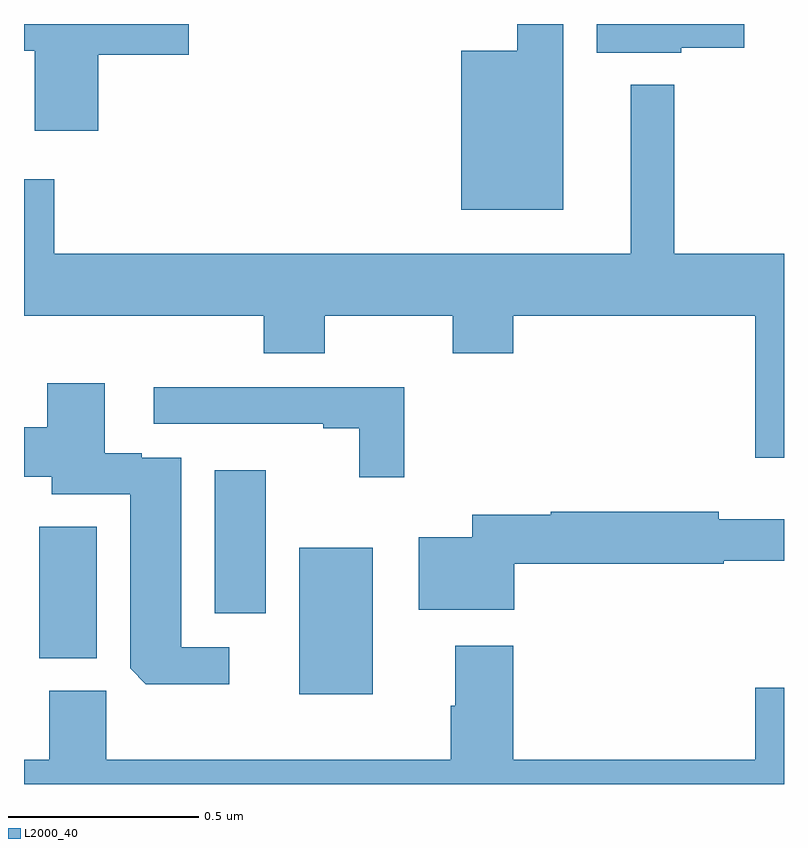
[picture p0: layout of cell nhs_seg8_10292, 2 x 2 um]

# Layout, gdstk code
import gdstk
lib = gdstk.Library(unit=1e-6, precision=1e-09)
def R(c, l, rs):  # rectangles x0, y0, x1, y1
    for r in rs: c.add(gdstk.rectangle(r[:2], r[2:], *l))
def P(c, l, *ps):  # polygons
    for p in ps: c.add(gdstk.Polygon(p, *l))
L2000_40 = (2000, 40)

nhs_seg8_10292 = lib.new_cell('nhs_seg8_10292')
R(nhs_seg8_10292, L2000_40, [(247.724,1150.136,247.918,1150.522), (247.04,1150.231,247.192,1150.577), (247.502,1150.35,247.636,1150.726)])
P(nhs_seg8_10292, L2000_40, [(247.196,1151.819),(247.433,1151.819),(247.433,1151.9),(247,1151.9),(247,1151.83),(247.028,1151.83),(247.028,1151.619),(247.196,1151.619)],
  [(248.419,1151.9),(248.298,1151.9),(248.298,1151.83),(248.15,1151.83),(248.15,1151.411),(248.419,1151.411)],
  [(248.73,1151.837),(248.896,1151.837),(248.896,1151.9),(248.507,1151.9),(248.507,1151.825),(248.73,1151.825)],
  [(249,1151.296),(248.711,1151.296),(248.711,1151.74),(248.597,1151.74),(248.597,1151.296),(247.079,1151.296),(247.079,1151.491),(247,1151.491),(247,1151.132),(247.631,1151.132),(247.631,1151.033),(247.791,1151.033),(247.791,1151.132),(248.128,1151.132),(248.128,1151.033),(248.288,1151.033),(248.288,1151.132),(248.924,1151.132),(248.924,1150.758),(249,1150.758)],
  [(247.54,1150.26),(247.414,1150.26),(247.414,1150.758),(247.31,1150.758),(247.31,1150.771),(247.213,1150.771),(247.213,1150.954),(247.061,1150.954),(247.061,1150.839),(247,1150.839),(247,1150.709),(247.073,1150.709),(247.073,1150.662),(247.28,1150.662),(247.28,1150.204),(247.321,1150.163),(247.54,1150.163)],
  [(248,1150.944),(247.341,1150.944),(247.341,1150.848),(247.787,1150.848),(247.787,1150.836),(247.882,1150.836),(247.882,1150.707),(248,1150.707)],
  [(248.29,1150.48),(248.842,1150.48),(248.842,1150.488),(249,1150.488),(249,1150.597),(248.828,1150.597),(248.828,1150.616),(248.386,1150.616),(248.386,1150.609),(248.18,1150.609),(248.18,1150.549),(248.039,1150.549),(248.039,1150.358),(248.29,1150.358)],
  [(249,1150.153),(248.924,1150.153),(248.924,1149.964),(248.288,1149.964),(248.288,1150.264),(248.135,1150.264),(248.135,1150.106),(248.123,1150.106),(248.123,1149.964),(247.217,1149.964),(247.217,1150.146),(247.067,1150.146),(247.067,1149.964),(247,1149.964),(247,1149.9),(249,1149.9)])

lib.write_gds('nhs_seg8_10292.gds')
